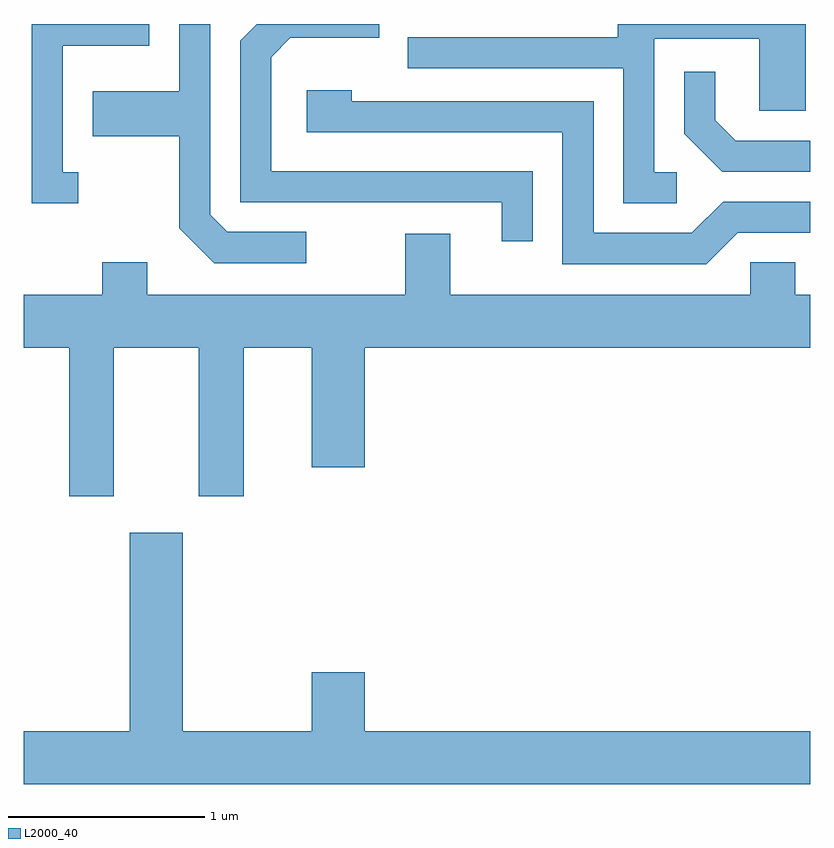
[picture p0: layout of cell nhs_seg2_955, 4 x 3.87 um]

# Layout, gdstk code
import gdstk
lib = gdstk.Library(unit=1e-6, precision=1e-09)
def P(c, l, *ps):  # polygons
    for p in ps: c.add(gdstk.Polygon(p, *l))
L2000_40 = (2000, 40)

nhs_seg2_955 = lib.new_cell('nhs_seg2_955')
P(nhs_seg2_955, L2000_40, [(216.199,987.054),(214.869,987.054),(214.869,987.634),(214.967,987.731),(215.419,987.731),(215.419,987.802),(214.796,987.802),(214.711,987.717),(214.711,986.896),(216.041,986.896),(216.041,986.698),(216.199,986.698)],
  [(215.048,986.744),(214.647,986.744),(214.559,986.832),(214.559,987.802),(214.401,987.802),(214.401,987.459),(213.961,987.459),(213.961,987.231),(214.401,987.231),(214.401,986.764),(214.579,986.586),(215.048,986.586)],
  [(213.888,987.049),(213.809,987.049),(213.809,987.691),(214.249,987.691),(214.249,987.802),(213.651,987.802),(213.651,986.891),(213.888,986.891)],
  [(216.933,987.049),(216.819,987.049),(216.819,987.726),(217.351,987.726),(217.351,987.361),(217.589,987.361),(217.589,987.802),(216.631,987.802),(216.631,987.734),(215.563,987.734),(215.563,987.576),(216.661,987.576),(216.661,986.891),(216.933,986.891)],
  [(217.611,987.209),(217.232,987.209),(217.129,987.312),(217.129,987.558),(216.971,987.558),(216.971,987.244),(217.164,987.051),(217.611,987.051)],
  [(217.242,986.741),(217.611,986.741),(217.611,986.899),(217.169,986.899),(217.009,986.739),(216.509,986.739),(216.509,987.409),(215.279,987.409),(215.279,987.464),(215.051,987.464),(215.051,987.251),(216.351,987.251),(216.351,986.581),(217.082,986.581)],
  [(214.069,986.156),(214.501,986.156),(214.501,985.401),(214.729,985.401),(214.729,986.156),(215.076,986.156),(215.076,985.546),(215.344,985.546),(215.344,986.156),(217.611,986.156),(217.611,986.424),(217.534,986.424),(217.534,986.589),(217.306,986.589),(217.306,986.424),(215.779,986.424),(215.779,986.734),(215.551,986.734),(215.551,986.424),(214.239,986.424),(214.239,986.589),(214.011,986.589),(214.011,986.424),(213.611,986.424),(213.611,986.156),(213.841,986.156),(213.841,985.401),(214.069,985.401)],
  [(215.076,984.504),(215.076,984.204),(214.419,984.204),(214.419,985.214),(214.151,985.214),(214.151,984.204),(213.611,984.204),(213.611,983.936),(217.611,983.936),(217.611,984.204),(215.344,984.204),(215.344,984.504)])

lib.write_gds('nhs_seg2_955.gds')
